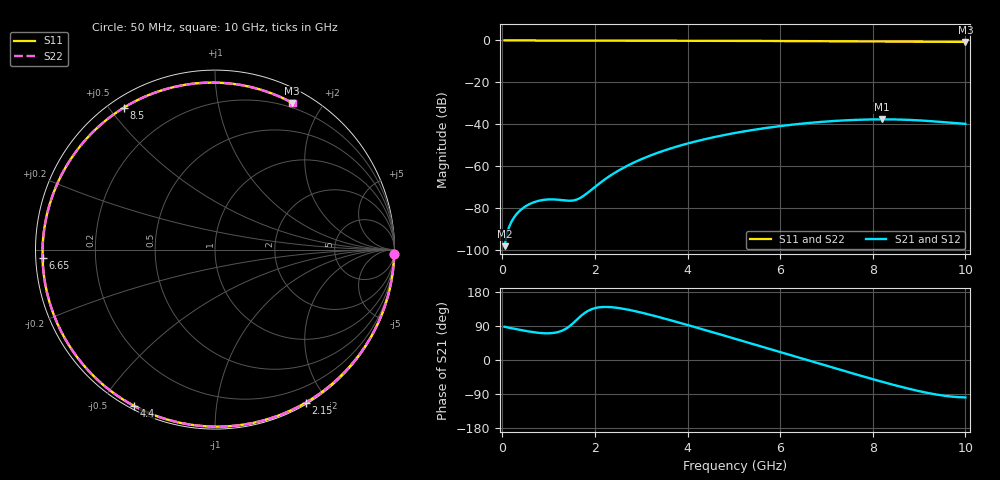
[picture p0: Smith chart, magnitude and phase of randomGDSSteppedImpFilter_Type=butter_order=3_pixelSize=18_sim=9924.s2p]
! freq	dB(S11)	phase(S11)	dB(S12)	phase(S12)
!  dB(S21)	phase(S21)	dB(S22)	phase(S22)
!S-par simulation data
#  GHz  S  DB  R 50
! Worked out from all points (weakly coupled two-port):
!   200 points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, 50 MHz to 10 GHz, reference 50 ohm
!   highest |S21| = -37.60 dB at 8.2 GHz (marker M1); lowest = -98.0 dB at 50 MHz (marker M2)
!   lowest |S11| = -0.7 dB at 10 GHz (marker M3), VSWR 25.31, Z = 7.37 + j82.4 ohm
!   |S11| at or under -10 dB: nowhere
!   |S22| runs from -0.7 to 0.0 dB; largest |S21 - S12| = 0
!   S11 on the Smith chart (normalised r, x): 50 MHz: 3, -83; 2.15 GHz: 0.02, -1.76; 4.4 GHz: 0.01, -0.61; 6.65 GHz: 0.02, -0.02; 8.5 GHz: 0.04, +0.55; 10 GHz: 0.15, +1.65
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0.05  -0.01 -1.4  -98.04 87.7  -98.04 87.7  -0.00 -1.4
0.45  -0.02 -12.7  -79.83 77.9  -79.83 77.9  -0.02 -12.7
0.65  -0.02 -18.3  -77.38 73.8  -77.38 73.8  -0.02 -18.3
0.85  -0.03 -23.9  -76.12 71.0  -76.12 71.0  -0.03 -23.9
1.5  -0.05 -41.8  -76.33 94.0  -76.33 94.0  -0.05 -41.8
1.75  -0.06 -48.6  -74.13 121.4  -74.13 121.4  -0.06 -48.6
2.15  -0.08 -59.3  -67.25 139.7  -67.25 139.7  -0.08 -59.3
2.7  -0.09 -73.8  -59.72 133.2  -59.72 133.2  -0.09 -73.9
3.4  -0.12 -92.0  -53.19 112.7  -53.19 112.7  -0.12 -92.0
4.4  -0.17 -117.4  -46.93 78.3  -46.93 78.3  -0.17 -117.5
5.05  -0.21 -134.0  -44.00 55.2  -44.00 55.2  -0.21 -134.1
5.9  -0.27 -156.3  -41.10 24.6  -41.10 24.6  -0.27 -156.4
6.65  -0.34 -177.1  -39.26 -2.5  -39.26 -2.5  -0.34 -177.2
6.7  -0.34 -178.6  -39.16 -4.3  -39.16 -4.3  -0.34 -178.7
7.45  -0.42 158.7  -38.02 -31.3  -38.02 -31.3  -0.42 158.6
8.2  -0.50 133.6  -37.60 -57.4  -37.60 -57.4  -0.51 133.5
8.35  -0.52 128.2  -37.62 -62.4  -37.62 -62.4  -0.52 128.1
8.5  -0.54 122.7  -37.66 -67.3  -37.66 -67.3  -0.54 122.6
8.9  -0.58 107.5  -37.98 -79.4  -37.98 -79.4  -0.58 107.4
9.3  -0.62 91.5  -38.54 -89.6  -38.54 -89.6  -0.62 91.4
9.65  -0.66 77.0  -39.17 -95.9  -39.17 -95.9  -0.66 76.9
10  -0.69 62.2  -39.74 -98.8  -39.74 -98.8  -0.69 62.1
